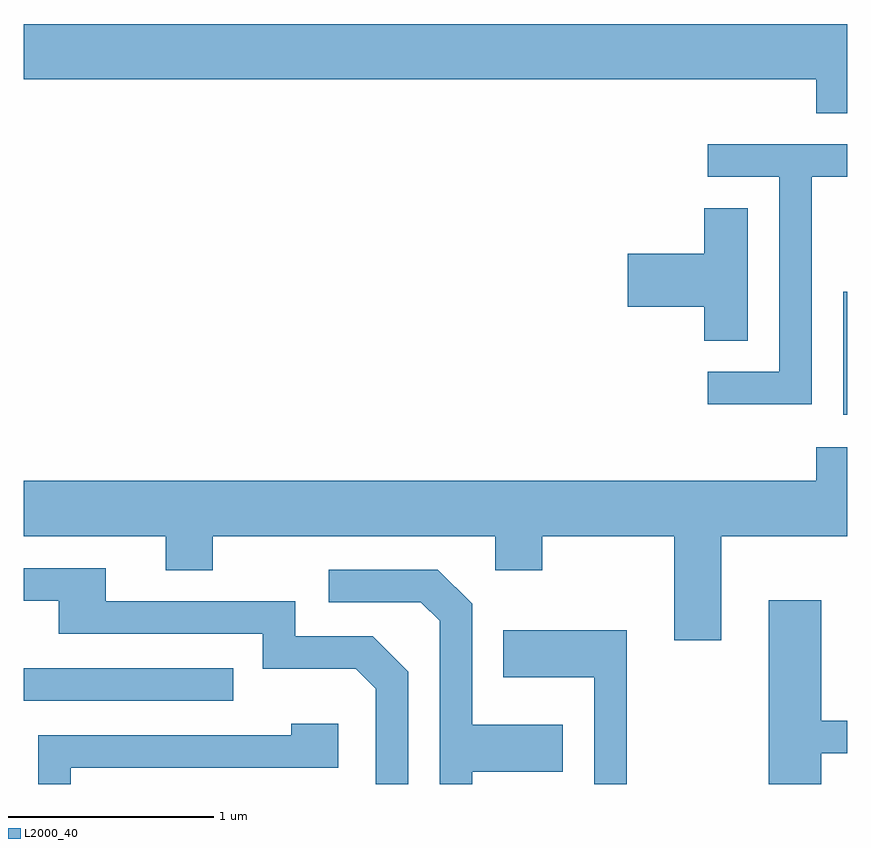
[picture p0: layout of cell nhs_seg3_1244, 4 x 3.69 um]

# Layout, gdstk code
import gdstk
lib = gdstk.Library(unit=1e-6, precision=1e-09)
def R(c, l, rs):  # rectangles x0, y0, x1, y1
    for r in rs: c.add(gdstk.rectangle(r[:2], r[2:], *l))
def P(c, l, *ps):  # polygons
    for p in ps: c.add(gdstk.Polygon(p, *l))
L2000_40 = (2000, 40)

nhs_seg3_1244 = lib.new_cell('nhs_seg3_1244')
R(nhs_seg3_1244, L2000_40, [(221.611,1156.296,222.628,1156.454), (225.591,1157.686,225.611,1158.284)])
P(nhs_seg3_1244, L2000_40, [(225.611,1159.584),(221.611,1159.584),(221.611,1159.316),(225.461,1159.316),(225.461,1159.151),(225.611,1159.151)],
  [(225.439,1158.841),(225.611,1158.841),(225.611,1158.999),(224.933,1158.999),(224.933,1158.841),(225.281,1158.841),(225.281,1157.894),(224.933,1157.894),(224.933,1157.736),(225.439,1157.736)],
  [(225.129,1158.689),(224.916,1158.689),(224.916,1158.469),(224.546,1158.469),(224.546,1158.211),(224.916,1158.211),(224.916,1158.046),(225.129,1158.046)],
  [(224.999,1157.096),(225.611,1157.096),(225.611,1157.529),(225.461,1157.529),(225.461,1157.364),(221.611,1157.364),(221.611,1157.096),(222.301,1157.096),(222.301,1156.931),(222.529,1156.931),(222.529,1157.096),(223.901,1157.096),(223.901,1156.931),(224.129,1156.931),(224.129,1157.096),(224.771,1157.096),(224.771,1156.591),(224.999,1156.591)],
  [(223.479,1156.437),(223.307,1156.609),(222.929,1156.609),(222.929,1156.779),(222.009,1156.779),(222.009,1156.939),(221.611,1156.939),(221.611,1156.781),(221.781,1156.781),(221.781,1156.621),(222.771,1156.621),(222.771,1156.451),(223.224,1156.451),(223.321,1156.354),(223.321,1155.892),(223.479,1155.892)],
  [(223.789,1155.951),(224.229,1155.951),(224.229,1156.179),(223.789,1156.179),(223.789,1156.767),(223.622,1156.934),(223.093,1156.934),(223.093,1156.776),(223.539,1156.776),(223.631,1156.684),(223.631,1155.892),(223.789,1155.892)],
  [(225.484,1156.041),(225.611,1156.041),(225.611,1156.199),(225.484,1156.199),(225.484,1156.784),(225.231,1156.784),(225.231,1155.892),(225.484,1155.892)],
  [(224.539,1156.639),(223.941,1156.639),(223.941,1156.411),(224.381,1156.411),(224.381,1155.892),(224.539,1155.892)],
  [(221.839,1155.971),(223.139,1155.971),(223.139,1156.184),(222.911,1156.184),(222.911,1156.129),(221.681,1156.129),(221.681,1155.892),(221.839,1155.892)])

lib.write_gds('nhs_seg3_1244.gds')
